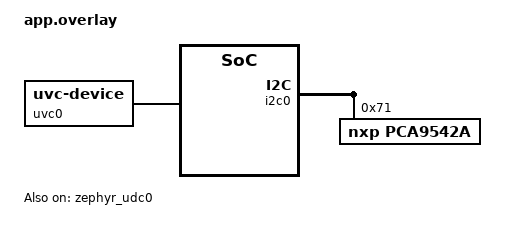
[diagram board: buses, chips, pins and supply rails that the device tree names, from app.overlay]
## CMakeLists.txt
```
# Copyright (c) 2024 tinyVision.ai Inc.
# SPDX-License-Identifier: Apache-2.0

cmake_minimum_required(VERSION 3.20.0)
find_package(Zephyr REQUIRED HINTS $ENV{ZEPHYR_BASE})
project(app)
target_sources(app PRIVATE src/main.c)
#target_sources(app PRIVATE src/usb.c)

# Run some code from RAM for performance during enumeration
zephyr_code_relocate(LIBRARY drivers__usb__udc LOCATION RAM)
zephyr_code_relocate(LIBRARY drivers__usbd LOCATION RAM)
```

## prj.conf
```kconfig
CONFIG_MINIMAL_LIBC=y
CONFIG_ASSERT=n

# SHELL
CONFIG_SHELL=y
CONFIG_I2C_SHELL=y
CONFIG_KERNEL_SHELL=y
CONFIG_SHELL_BACKEND_SERIAL_API_INTERRUPT_DRIVEN=y

# USB
CONFIG_UDC_DRIVER=y
CONFIG_USBD_VIDEO_CLASS=y
#CONFIG_USBD_VIDEO_HEADER_SIZE=8
CONFIG_USB_DEVICE_STACK_NEXT=y

# VIDEO
CONFIG_VIDEO=y

# I2C
CONFIG_I2C_PCA9542A_IGNORE_FAILURE=y

# LOG
CONFIG_LOG=y
CONFIG_LOG_MODE_MINIMAL=y
CONFIG_UDC_DRIVER_LOG_LEVEL_WRN=y
CONFIG_USBD_LOG_LEVEL_WRN=y
CONFIG_USBD_VIDEO_LOG_LEVEL_WRN=y
CONFIG_VIDEO_LOG_LEVEL_WRN=y
```

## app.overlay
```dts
/*
 * Copyright (c) 2024 tinyVision.ai Inc.
 *
 * SPDX-License-Identifier: Apache-2.0
 */

/* Welcome to the Zephyr devicetree. This configuration file will
 * setup the interconnection between the drivers and explain to
 * Zephyr how to configure driver instances accordingly.
 *
 * Extra devicetree is provided by default, and once a project is
 * built, it is possible to review the full devicetree under:
 *    build/zephyr/zephyr.dts
 *
 * See https://docs.zephyrproject.org/latest/build/dts/intro.html
 * for more details about the devicetree and its usage.
 */

/ {
	chosen {
		zephyr,shell-uart = &uart0;
	};
};

/* First, declare the image sensor over I2C, going through an I2C
 * multiplexer in this example
 */
&i2c0 {
	status = "okay";

	pca9542a@71 {
		compatible = "nxp,pca9542a";
		reg = <0x71>;
		#address-cells = <1>;
		#size-cells = <0>;

		ch@0 {
			compatible = "nxp,pca9542a-channel";
			reg = <0>;
			#address-cells = <1>;
			#size-cells = <0>;

			imx219: imx219@10 {
				compatible = "sony,imx219";
				reg = <0x10>;

				port {
					/* Then, hook the image sensor with the next core
					 */
					imx219_ep_out: endpoint {
						remote-endpoint-label = "debayer0_ep_in";
					};
				};
			};
		};
	};
};

/* Also hook the next core back to the image sensor
 */
&debayer0_ep_in {
	remote-endpoint-label = "imx219_ep_out";
};

/* The UVC Manager is already connected to the debayer core.
 * Declare the USB Endpoint with which the UVC Manager will operate
 * If there is a single endpoint, it is 0x81.
 */
&uvcmanager0 {
	usb-endpoint = <0x81>;
};

/* Finally, interconnect UVCManager with UVC, so that it recieves the
 * commands from UVC, and forward them to the other peripherals
 */
&uvcmanager0_ep_out {
	remote-endpoint-label = "uvc0_ep_in";
};

/* Configure the USB driver properties: adjusting the number of endponts
 * to only use as much RAM as needed, and max USB speed.
 */
&zephyr_udc0 {
	num-out-endpoints = <1>;
	num-in-endpoints = <2>;
	maximum-speed = "super-speed";
	status = "okay";

	/* Then declare the USB classes inside. In this example, only UVC
	 * is present, but it is possible to add more, such as CDC ACM.
	 * In which case, adjusting `num-out-endpoints`, `num-in-endpoints`,
	 * `usb-endpoint` would be required.
	 */
	uvc0: uvc {
		compatible = "zephyr,uvc-device";

		port {
			/* Connect UVC back to the UVC Manager.
			 */
			uvc0_ep_in: endpoint {
				remote-endpoint-label = "uvcmanager0_ep_out";
			};
		};
	};
};
```

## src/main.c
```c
#include <zephyr/kernel.h>
#include <zephyr/devicetree.h>
#include <zephyr/drivers/video.h>
#include <zephyr/logging/log.h>

LOG_MODULE_REGISTER(app, LOG_LEVEL_DBG);

static const struct device *uvc_dev = DEVICE_DT_GET(DT_NODELABEL(uvc0));
static const struct device *uvcmanager_dev = DEVICE_DT_GET(DT_NODELABEL(uvcmanager0));

int main(void)
{
	struct video_buffer vbuf = {0};
	struct video_format fmt = {0};
	int ret;

	/* Get the video format once it is selected by the host */
	while (true) {
		ret = video_get_format(uvc_dev, VIDEO_EP_IN, &fmt);
		if (ret == 0) {
			break;
		}
		if (ret != -EAGAIN) {
			LOG_ERR("Failed to get the video format");
			return ret;
		}

		k_sleep(K_MSEC(10));
	}

	LOG_DBG("frame %ux%u, %u bytes", fmt.width, fmt.height, fmt.pitch * fmt.height);

	/* The buffer address is not used, only the size matters */
	vbuf.size = vbuf.bytesused = fmt.pitch * fmt.height;

	/* Only the first buffer needs to be enqueued when using the UVC Manager */
	ret = video_enqueue(uvcmanager_dev, VIDEO_EP_IN, &vbuf);
	if (ret) {
		LOG_ERR("failed to enqueue the video buffer");
		return ret;
	}

	k_sleep(K_FOREVER);
	return 0;
}
```

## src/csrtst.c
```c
#include <zephyr/shell/shell.h>

#define WISHBONE_BASE_ADDR 0xb0000000

struct reg_data {
    unsigned int adr;
    unsigned int val;
    const char *name;
};

struct reg_data registers[] = {
    {WISHBONE_BASE_ADDR + 0x07000000, 0, "CSR_SCRATCH"},
    {WISHBONE_BASE_ADDR + 0x07000004, 0, "CSR_CONTROL"},
    {WISHBONE_BASE_ADDR + 0x07000008, 0, "CSR_STATUS"},
    {WISHBONE_BASE_ADDR + 0x0700000C, 0, "CSR_CONFIG"},
    {WISHBONE_BASE_ADDR + 0x07000010, 0, "CSR_NUM_FRAMES"},
    {WISHBONE_BASE_ADDR + 0x07000014, 0, "CSR_IMAGE_STATS"},
    {WISHBONE_BASE_ADDR + 0x07000018, 0, "CSR_IMAGE_GAIN"},
    {WISHBONE_BASE_ADDR + 0x0700001C, 0, "CSR_CHAN_AVG_0"},
    {WISHBONE_BASE_ADDR + 0x07000020, 0, "CSR_CHAN_AVG_1"},
    {WISHBONE_BASE_ADDR + 0x07000024, 0, "CSR_CHAN_AVG_2"},
    {WISHBONE_BASE_ADDR + 0x07000028, 0, "CSR_CHAN_AVG_3"}
};

static void reg_32b_read(unsigned int addr, unsigned int *val)
{
    *val = *((volatile unsigned int *)addr);
}

static void CsrRegTest(const struct shell *shell)
{

    int num_registers = sizeof(registers) / sizeof(registers[0]);

    for (int i = 0; i < num_registers; i++) {
        reg_32b_read(registers[i].adr, &registers[i].val);

        shell_print(shell,"%s\t (0x%x)\t = 0x%x", registers[i].name, registers[i].adr, registers[i].val);
    }
}

SHELL_CMD_REGISTER(csr_test, NULL, "Dump CSR registers", CsrRegTest);
```

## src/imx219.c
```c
#include <stdio.h>
#include <zephyr/shell/shell.h>
#include <zephyr/drivers/video.h>
#include <zephyr/kernel.h>
#include <zephyr/logging/log.h>
#include <zephyr/sys/byteorder.h>
LOG_MODULE_REGISTER(app2, LOG_LEVEL_DBG);

const struct device *video_dev = DEVICE_DT_GET(DT_NODELABEL(imx219));

static int gain_control(const struct shell *shell, size_t argc, char **argv) {

    int scale_value = 1;
    uint8_t value, min, max, dflt;

    if(video_get_ctrl(video_dev,VIDEO_CID_CAMERA_GAIN,&value)){
        shell_print(shell, "Unable to get current gain value");
        return -1;
    }

    if(video_get_ctrl(video_dev,VIDEO_CID_CAMERA_GAIN_DEF,&dflt)){
        shell_print(shell, "Unable to get default gain value");
        return -1;
    }

    if(video_get_ctrl(video_dev,VIDEO_CID_CAMERA_GAIN_MIN,&min)){
        shell_print(shell, "Unable to get min gain value");
        return -1;
    }

    if(video_get_ctrl(video_dev,VIDEO_CID_CAMERA_GAIN_MAX,&max)){
        shell_print(shell, "Unable to get max gain value");
        return -1;
    }

    if (strcmp(argv[0], "current_value") == 0) {
        shell_print(shell, "Current gain = %d", value);
        shell_print(shell, "Default gain = %d", dflt);
        shell_print(shell, "Minimum gain = %d", min);
        shell_print(shell, "Maximum gain = %d", max);
        return 0;
    }

    scale_value = atoi(argv[1]);
    // if (scale_value == 0) {
    //     shell_print(shell, "scale_value Usage: gain <increase|decrease> <scale>");
    //     return -1;
    // }

    if(scale_value < min || scale_value > max){
        shell_print(shell, "Input value is out of range");
        return -1;
    }

    if (strcmp(argv[0], "increase") == 0) {
        value += scale_value;
    } else if (strcmp(argv[0], "decrease") == 0) {
        value -= scale_value;
    } else if (strcmp(argv[0], "custom") == 0) {
        value = scale_value;
    } else if (strcmp(argv[0], "reset") == 0) {
        value = -1;
    } else {
        shell_print(shell, "Invalid argument: %s. Use 'increase' or 'decrease'", argv[0]);
        return -1;
    }

    if (video_set_ctrl(video_dev, VIDEO_CID_CAMERA_GAIN, &value)) {
        shell_print(shell, "Unable to set gain value = %d", value);
        return -1;
    }

    shell_print(shell, "Gain %s to %d.", (strcmp(argv[0], "increase") == 0) ? "increased" : "decreased", value);
    return 0;
}

static int exposure_control(const struct shell *shell, size_t argc, char **argv) {
    int scale_value = 5;
    uint16_t value, min, max, dflt;

    if(video_get_ctrl(video_dev,VIDEO_CID_CAMERA_EXPOSURE,&value)){
        shell_print(shell, "Unable to get current exposure value");
        return -1;
    }

    if(video_get_ctrl(video_dev,VIDEO_CID_CAMERA_EXPOSURE_DEF,&dflt)){
        shell_print(shell, "Unable to get default exposure value");
        return -1;
    }

    if(video_get_ctrl(video_dev,VIDEO_CID_CAMERA_EXPOSURE_MIN,&min)){
        shell_print(shell, "Unable to get min exposure value");
        return -1;
    }

    if(video_get_ctrl(video_dev,VIDEO_CID_CAMERA_EXPOSURE_MAX,&max)){
        shell_print(shell, "Unable to get max exposure value");
        return -1;
    }

    if (strcmp(argv[0], "current_value") == 0) {
        shell_print(shell, "Current exposure = %d", value);
        shell_print(shell, "Default exposure = %d", dflt);
        shell_print(shell, "Minimum exposure = %d", min);
        shell_print(shell, "Maximum exposure = %d", max);
        return 0;
    }

    scale_value = atoi(argv[1]);
    // if (scale_value == 0) {
    //     shell_print(shell, "scale_value Usage: exposure <increase|decrease> <scale>");
    //     return -1;
    // }

    if(scale_value > max){
        shell_print(shell, "Input value is out of range");
        return -1;
    }

    if (strcmp(argv[0], "increase") == 0) {
        value += scale_value;
        //shell_print(shell, "scale_value =  %d\tvalue = %d", scale_value, value);
    } else if (strcmp(argv[0], "custom") == 0) {
        value = scale_value;
    } else if (strcmp(argv[0], "reset") == 0) {
        value = -1;
    } else if (strcmp(argv[0], "decrease") == 0) {
        value -= scale_value;
    } else {
        shell_print(shell, "Invalid argument: %s. Use 'increase' or 'decrease'", argv[0]);
        return -1;
    }

    if (video_set_ctrl(video_dev, VIDEO_CID_CAMERA_EXPOSURE, &value)) {
        shell_print(shell, "Unable to set exposure value = %d", value);
        return -1;
    }

    shell_print(shell, "exposure %s to %d", (strcmp(argv[0], "increase") == 0) ? "increased" : "decreased", sys_be16_to_cpu(value));
    return 0;
}

static int digital_gain_control(const struct shell *shell, size_t argc, char **argv) {

    int scale_value = 1;
    uint16_t value, min, max, dflt;

    if(video_get_ctrl(video_dev,VIDEO_CID_CAMERA_DIGITAL_GAIN,&value)){
        shell_print(shell, "Unable to get current gain value");
        return -1;
    }

    if(video_get_ctrl(video_dev,VIDEO_CID_CAMERA_DIGITAL_GAIN_DEF,&dflt)){
        shell_print(shell, "Unable to get default gain value");
        return -1;
    }

    if(video_get_ctrl(video_dev,VIDEO_CID_CAMERA_DIGITAL_GAIN_MIN,&min)){
        shell_print(shell, "Unable to get min gain value");
        return -1;
    }

    if(video_get_ctrl(video_dev,VIDEO_CID_CAMERA_DIGITAL_GAIN_MAX,&max)){
        shell_print(shell, "Unable to get max gain value");
        return -1;
    }

    if (strcmp(argv[0], "current_value") == 0) {
        shell_print(shell, "Current gain = %d", value);
        shell_print(shell, "Default gain = %d", dflt);
        shell_print(shell, "Minimum gain = %d", min);
        shell_print(shell, "Maximum gain = %d", max);
        return 0;
    }
    shell_print(shell, "Current gain = %d", value);
    scale_value = atoi(argv[1]);
    // if (scale_value == 0) {
    //     shell_print(shell, "scale_value Usage: gain <increase|decrease> <scale>");
    //     return -1;
    // }

    if (strcmp(argv[0], "increase") == 0) {
        value += scale_value;
    } else if (strcmp(argv[0], "decrease") == 0) {
        value -= scale_value;
    } else if (strcmp(argv[0], "custom") == 0) {
        value = scale_value;
    } else if (strcmp(argv[0], "reset") == 0) {
        value = -1;
    } else {
        shell_print(shell, "Invalid argument: %s. Use 'increase' or 'decrease'", argv[0]);
        return -1;
    }

    if(value < min || value > max){
        shell_print(shell, "Input value is out of range");
        return -1;
    }
    shell_print(shell, "change gain = %d", value);
    if (video_set_ctrl(video_dev, VIDEO_CID_CAMERA_DIGITAL_GAIN, &value)) {
        shell_print(shell, "Unable to set gain value = %d", value);
        return -1;
    }

    shell_print(shell, "Gain digital %s to %d.", (strcmp(argv[0], "increase") == 0) ? "increased" : "decreased", sys_be16_to_cpu(value));
    return 0;
}

SHELL_STATIC_SUBCMD_SET_CREATE(sub_gain,
    SHELL_CMD_ARG(increase, NULL, "Usage: gain increase <scale>", gain_control, 2, 0),
    SHELL_CMD_ARG(decrease, NULL, "Usage: gain decrease <scale>", gain_control, 2, 0),
    SHELL_CMD_ARG(custom, NULL, "Usage: gain custom <scale>", gain_control, 2, 0),
    SHELL_CMD_ARG(reset, NULL, "Usage: gain reset", gain_control, 1, 0),
    SHELL_CMD_ARG(current_value, NULL, "Usage: gain current_value", gain_control, 1, 0),
    SHELL_SUBCMD_SET_END
);

SHELL_STATIC_SUBCMD_SET_CREATE(sub_exposure,
    SHELL_CMD_ARG(increase, NULL, "Usage: exposur increase", exposure_control, 2, 0),
    SHELL_CMD_ARG(decrease, NULL, "Usage: exposur decrease", exposure_control, 2, 0),
    SHELL_CMD_ARG(custom, NULL, "Usage: exposur custom <scale>", exposure_control, 2, 0),
    SHELL_CMD_ARG(reset, NULL, "Usage: exposur reset", exposure_control, 1, 0),
    SHELL_CMD_ARG(current_value, NULL, "Usage: exposure current_value", exposure_control, 1, 0),
    SHELL_SUBCMD_SET_END
);

SHELL_STATIC_SUBCMD_SET_CREATE(sub_digital_gain,
    SHELL_CMD_ARG(increase, NULL, "Usage: digital gain increase", digital_gain_control, 2, 0),
    SHELL_CMD_ARG(decrease, NULL, "Usage: digital gain decrease", digital_gain_control, 2, 0),
    SHELL_CMD_ARG(custom, NULL, "Usage: digital gain custom <scale>", digital_gain_control, 2, 0),
    SHELL_CMD_ARG(reset, NULL, "Usage: digital gain reset", digital_gain_control, 1, 0),
    SHELL_CMD_ARG(current_value, NULL, "Usage: digital gain current_value", digital_gain_control, 1, 0),
    SHELL_SUBCMD_SET_END
);

SHELL_STATIC_SUBCMD_SET_CREATE(cam_ctrls, 
			SHELL_CMD(gain, &sub_gain, "increase or decrease camera gain", NULL),
			SHELL_CMD(exposure, &sub_exposure, "increase or decrease camera exposure", NULL),
            SHELL_CMD(digital_gain, &sub_digital_gain, "increase or decrease camera digital gain", NULL),
			SHELL_SUBCMD_SET_END);

SHELL_CMD_REGISTER(imx219, &cam_ctrls, "camera controls", NULL);
```

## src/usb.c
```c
#include <zephyr/drivers/usb/udc.h>
#include <zephyr/usb/usbd.h>
#include <zephyr/usb/bos.h>
#include <zephyr/logging/log.h>

LOG_MODULE_REGISTER(app_usb, LOG_LEVEL_DBG);

static const struct device *const udc0_dev = DEVICE_DT_GET(DT_NODELABEL(zephyr_udc0));

USBD_DEVICE_DEFINE(usbd, udc0_dev, 0x1209, 0x0001);

USBD_DESC_MANUFACTURER_DEFINE(usbd_manufacturer, "tinyVision.ai");
USBD_DESC_PRODUCT_DEFINE(usbd_product, "tinyCLUNX33");
USBD_DESC_LANG_DEFINE(usbd_lang);
USBD_DESC_CONFIG_DEFINE(usbd_fs_cfg_desc, "FullSpeed Configuration");
USBD_DESC_CONFIG_DEFINE(usbd_hs_cfg_desc, "HighSpeed Configuration");
USBD_DESC_CONFIG_DEFINE(usbd_ss_cfg_desc, "SuperSpeed Configuration");

USBD_CONFIGURATION_DEFINE(usbd_config_fs, USB_SCD_SELF_POWERED, 100, &usbd_fs_cfg_desc);
USBD_CONFIGURATION_DEFINE(usbd_config_hs, USB_SCD_SELF_POWERED, 100, &usbd_hs_cfg_desc);
USBD_CONFIGURATION_DEFINE(usbd_config_ss, USB_SCD_SELF_POWERED, 100, &usbd_ss_cfg_desc);

int app_usb_init(void)
{
	int ret;

	LOG_DBG("Adding USB descriptors");
	ret = usbd_add_descriptor(&usbd, &usbd_lang);
	if (ret < 0) {
		LOG_ERR("failed to add lang descriptor");
		return ret;
	}
	ret = usbd_add_descriptor(&usbd, &usbd_manufacturer);
	if (ret < 0) {
		LOG_ERR("failed to add manufacturer descriptor");
		return ret;
	}
	ret = usbd_add_descriptor(&usbd, &usbd_product);
	if (ret < 0) {
		LOG_ERR("failed to add product descriptor");
		return ret;
	}

	LOG_DBG("Adding USB configuration");
	ret = usbd_add_configuration(&usbd, USBD_SPEED_FS, &usbd_config_fs);
	if (ret < 0) {
		LOG_ERR("failed to add FullSpeed, configuration");
		return ret;
	}
	ret = usbd_add_configuration(&usbd, USBD_SPEED_HS, &usbd_config_hs);
	if (ret < 0) {
		LOG_ERR("failed to add HighSpeed, configuration");
		return ret;
	}
	ret = usbd_add_configuration(&usbd, USBD_SPEED_SS, &usbd_config_ss);
	if (ret < 0) {
		LOG_ERR("failed to add SuperSpeed, configuration");
		return ret;
	}

	usbd_device_set_code_triple(&usbd, USBD_SPEED_FS, USB_BCC_MISCELLANEOUS, 0x02, 0x01);
	usbd_device_set_code_triple(&usbd, USBD_SPEED_HS, USB_BCC_MISCELLANEOUS, 0x02, 0x01);
	usbd_device_set_code_triple(&usbd, USBD_SPEED_SS, USB_BCC_MISCELLANEOUS, 0x02, 0x01);

	LOG_DBG("Adding USB classes");
	ret = usbd_register_all_classes(&usbd, USBD_SPEED_FS, 1);
	if (ret < 0) {
		LOG_ERR("failed to register FullSpeed USB clases");
		return ret;
	}
	ret = usbd_register_all_classes(&usbd, USBD_SPEED_HS, 1);
	if (ret < 0) {
		LOG_ERR("failed to register HighSpeed USB clases");
		return ret;
	}
	ret = usbd_register_all_classes(&usbd, USBD_SPEED_SS, 1);
	if (ret < 0) {
		LOG_ERR("failed to register SuperSpeed USB clases");
		return ret;
	}

	LOG_DBG("Finalize USB configuration");
	ret = usbd_init(&usbd);
	if (ret < 0) {
		LOG_ERR("failed to initialize USB");
		return ret;
	}

	LOG_DBG("Starting USB operation");
	ret = usbd_enable(&usbd);
	if (ret < 0) {
		LOG_ERR("failed to enable the USB device");
		return ret;
	}

	return 0;
}

SYS_INIT(app_usb_init, APPLICATION, CONFIG_APPLICATION_INIT_PRIORITY);
```
